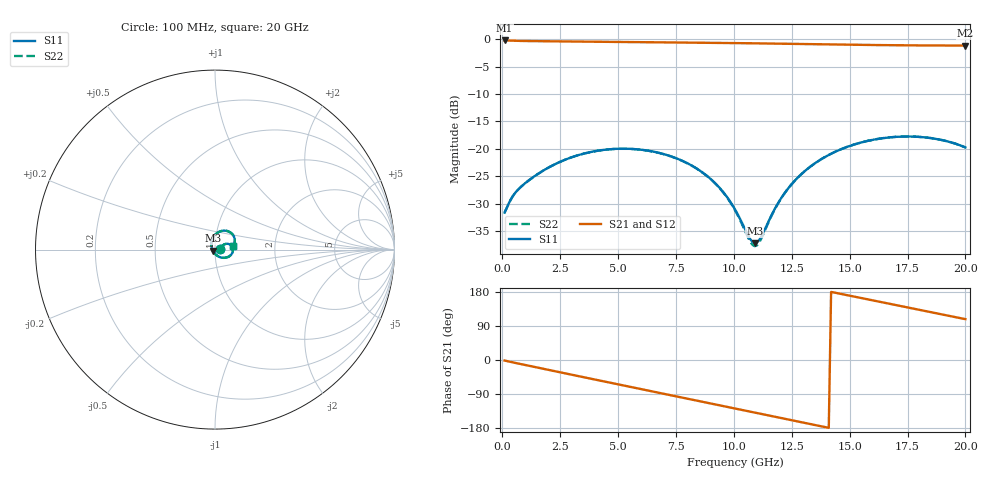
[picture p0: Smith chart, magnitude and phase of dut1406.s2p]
! Touchstone file exported from HFSS 2026.1.0
!  File:  C:/ffzhzh/LocalFiles/Ansys_Project_Files/temp_train_TSV_RDL_1406_1783352421_46376.aedt
!  Generated:  11:48:08 PM Jul  6, 2026
!  Design:  TSV_RDL
!  Project:  temp_train_TSV_RDL_1406_1783352421_46376
! Variables:
!  h_bsmrdl = 3.93um
!  h_ox = 20um
!  h_rdl = 5um
!  h_sub = 69.66um
!  h_tmrdl = 3.13um
!  h_tsv = 69.66um
!  h_via = 3um
!  l_bsmrdl = 311.86um
!  l_sub = 4221.43um
!  l_tmrdl = 693.21um
!  m_sub = 200um
!  pitch = 23.07um
!  r_tsv = 5.03um
!  s_tmrdl = 10um
!  w_bsmrdl = 20.98um
!  w_sub = 500um
!  w_tmrdl = 16.69um
!  x_tsv_center1 = 701.555um
!  x_tsv_center2 = 1034.395um
!  x_tsv_center3 = 1744.295um
!  x_tsv_center4 = 2077.135um
!  x_tsv_center5 = 2787.035um
!  x_tsv_center6 = 3119.875um
# GHz S MA R 50.000000
! Terminal data exported
! Port[1] = TM_RDL1_1_T1
! Port[2] = TM_RDL5_1_T1
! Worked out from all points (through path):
!   200 points, 100 MHz to 20 GHz, reference 50 ohm
!   highest |S21| = -0.23 dB at 100 MHz (marker M1); lowest = -1.2 dB at 20 GHz (marker M2)
!   group delay of S21, straight-line fit = 35 ps
!   lowest |S11| = -37.2 dB at 10.9 GHz (marker M3), VSWR 1.03, Z = 48.8 - j0.646 ohm
!   |S11| at or under -10 dB: start of sweep to end of sweep
!   |S22| runs from -37.8 to -17.7 dB; largest |S21 - S12| = 1.9e-14
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0.1  0.02617 10.9  0.9744 -1.5  0.9744 -1.5  0.02617 10.9
! Gamma 0 0 0 0
! Port Impedance 50 0 50 0
0.5  0.03819 25.8  0.9676 -6.9  0.9676 -6.9  0.03819 25.8
1.2  0.05256 29.1  0.9618 -15.9  0.9618 -15.9  0.05255 29.1
2.3  0.07273 26.5  0.9563 -29.9  0.9563 -29.9  0.07271 26.6
3.5  0.09015 17.1  0.9505 -45.2  0.9505 -45.2  0.09011 17.1
5.2  0.1002 -1.3  0.9426 -66.8  0.9426 -66.8  0.1001 -1.1
6.8  0.09142 -21.3  0.9361 -87.0  0.9361 -87.0  0.09129 -21.0
7.9  0.07551 -36.6  0.9319 -100.9  0.9319 -100.9  0.07533 -36.2
8.8  0.05751 -51.0  0.9282 -112.3  0.9282 -112.3  0.05726 -50.4
9.5  0.04126 -65.3  0.925 -121.2  0.925 -121.2  0.04092 -64.4
10.1  0.02679 -84.1  0.922 -128.8  0.922 -128.8  0.0263 -82.8
10.7  0.01507 -126.4  0.9187 -136.4  0.9187 -136.4  0.01428 -125.6
10.9  0.01374 -151.2  0.9176 -138.9  0.9176 -138.9  0.01292 -151.7
11.1  0.01472 -176.8  0.9164 -141.4  0.9164 -141.4  0.014 -178.6
11.7  0.02655 138.1  0.9127 -149.0  0.9127 -149.0  0.02625 136.3
12.2  0.03959 121.1  0.9095 -155.3  0.9095 -155.3  0.03944 119.7
12.8  0.05566 107.7  0.9055 -162.8  0.9055 -162.8  0.0556 106.7
13.4  0.07118 97.2  0.9014 -170.3  0.9014 -170.3  0.07118 96.4
15  0.106 73.9  0.891 169.8  0.891 169.8  0.1061 73.4
16.7  0.1269 51.9  0.8823 148.7  0.8823 148.7  0.127 51.5
18.4  0.126 30.9  0.8772 127.7  0.8772 127.7  0.1262 30.5
20  0.1029 11.5  0.8751 107.7  0.8751 107.7  0.1031 11.2
